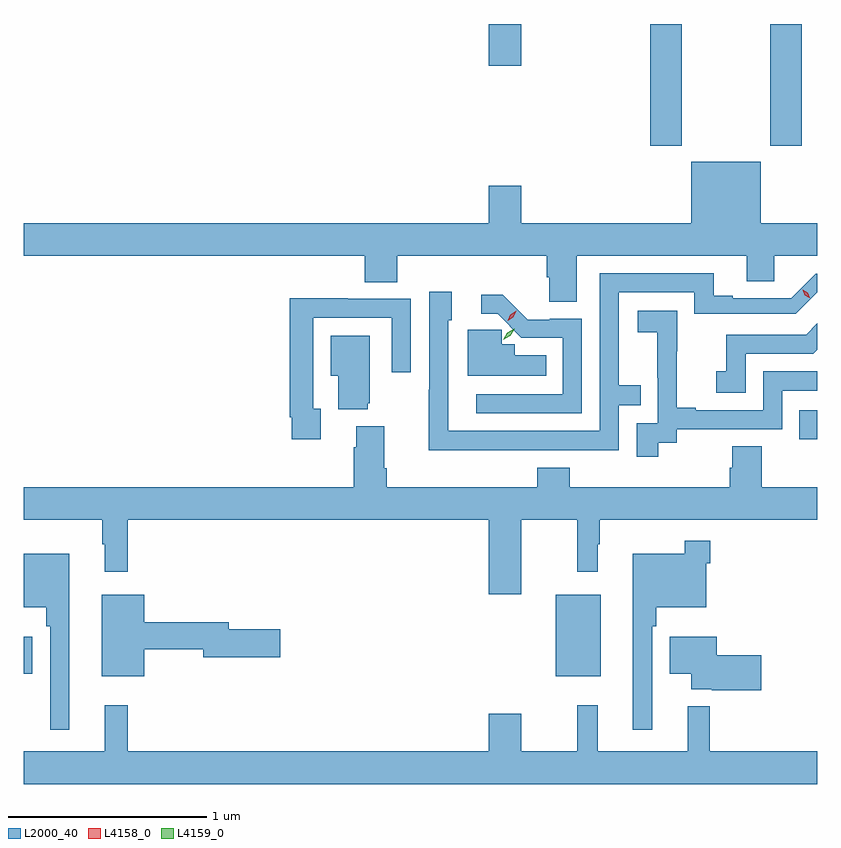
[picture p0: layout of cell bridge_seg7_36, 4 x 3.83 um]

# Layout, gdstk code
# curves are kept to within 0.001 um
import gdstk
lib = gdstk.Library(unit=1e-6, precision=1e-09)
def R(c, l, rs):  # rectangles x0, y0, x1, y1
    for r in rs: c.add(gdstk.rectangle(r[:2], r[2:], *l))
def P(c, l, *ps):  # polygons
    for p in ps: c.add(gdstk.Polygon(p, *l))
L2000_40 = (2000, 40)
L4158_0 = (4158, 0)
L4159_0 = (4159, 0)

bridge_seg7_36 = lib.new_cell('bridge_seg7_36')
R(bridge_seg7_36, L2000_40, [(920.588,1038.455,920.815,1038.865), (917.907,1038.467,917.95,1038.655), (921.817,1039.65,921.907,1039.797), (921.065,1041.129,921.225,1041.744), (921.67,1041.129,921.83,1041.744), (920.252,1041.534,920.416,1041.744)])
P(bridge_seg7_36, L2000_40, [(920.695,1040.576),(921.551,1040.576),(921.551,1040.446),(921.691,1040.446),(921.691,1040.576),(921.907,1040.576),(921.907,1040.74),(921.622,1040.74),(921.622,1041.049),(921.272,1041.049),(921.272,1040.74),(920.416,1040.74),(920.416,1040.929),(920.252,1040.929),(920.252,1040.74),(917.907,1040.74),(917.907,1040.576),(919.625,1040.576),(919.625,1040.443),(919.79,1040.443),(919.79,1040.576),(920.543,1040.576),(920.543,1040.466),(920.555,1040.466),(920.555,1040.344),(920.695,1040.344)],
  [(920.411,1039.596),(920.907,1039.596),(920.907,1039.821),(921.017,1039.821),(921.017,1039.922),(920.907,1039.922),(920.907,1040.391),(921.288,1040.391),(921.288,1040.284),(921.799,1040.284),(921.907,1040.392),(921.907,1040.484),(921.9,1040.484),(921.777,1040.361),(921.481,1040.361),(921.481,1040.374),(921.385,1040.374),(921.385,1040.487),(920.811,1040.487),(920.811,1039.692),(920.047,1039.692),(920.046,1040.25),(920.065,1040.25),(920.065,1040.395),(919.95,1040.395),(919.95,1039.901),(919.948,1039.901),(919.948,1039.595)],
  [(920.721,1040.259),(920.559,1040.259),(920.559,1040.253),(920.447,1040.253),(920.321,1040.38),(920.213,1040.38),(920.213,1040.283),(920.296,1040.283),(920.416,1040.163),(920.625,1040.163),(920.625,1039.878),(920.187,1039.878),(920.187,1039.782),(920.721,1039.782)],
  [(919.405,1039.805),(919.365,1039.805),(919.365,1040.262),(919.761,1040.262),(919.761,1039.989),(919.857,1039.989),(919.857,1040.358),(919.541,1040.358),(919.541,1040.36),(919.249,1040.36),(919.249,1039.762),(919.257,1039.762),(919.257,1039.65),(919.405,1039.65)],
  [(921.106,1039.632),(921.198,1039.632),(921.198,1039.701),(921.732,1039.701),(921.732,1039.896),(921.907,1039.896),(921.907,1039.992),(921.636,1039.992),(921.636,1039.797),(921.295,1039.797),(921.295,1039.81),(921.2,1039.81),(921.2,1040.093),(921.201,1040.093),(921.201,1040.299),(921.003,1040.299),(921.003,1040.189),(921.101,1040.189),(921.101,1039.961),(921.102,1039.961),(921.102,1039.731),(920.997,1039.731),(920.997,1039.563),(921.106,1039.563)],
  [(921.546,1040.082),(921.888,1040.082),(921.907,1040.101),(921.907,1040.234),(921.851,1040.178),(921.448,1040.178),(921.448,1039.993),(921.399,1039.993),(921.399,1039.884),(921.546,1039.884)],
  [(920.54,1040.074),(920.383,1040.074),(920.383,1040.129),(920.316,1040.129),(920.316,1040.203),(920.144,1040.203),(920.144,1039.97),(920.54,1039.97)],
  [(919.64,1039.833),(919.651,1039.833),(919.651,1040.173),(919.454,1040.173),(919.454,1039.97),(919.493,1039.97),(919.493,1039.802),(919.64,1039.802)],
  [(920.416,1039.244),(920.698,1039.244),(920.698,1038.981),(920.8,1038.981),(920.8,1039.121),(920.812,1039.121),(920.812,1039.244),(921.907,1039.244),(921.907,1039.408),(921.627,1039.408),(921.627,1039.616),(921.479,1039.616),(921.479,1039.506),(921.467,1039.506),(921.467,1039.408),(920.66,1039.408),(920.66,1039.507),(920.495,1039.507),(920.495,1039.408),(919.736,1039.408),(919.736,1039.504),(919.723,1039.504),(919.723,1039.717),(919.583,1039.717),(919.583,1039.61),(919.571,1039.61),(919.571,1039.408),(917.907,1039.408),(917.907,1039.244),(918.303,1039.244),(918.303,1039.121),(918.314,1039.121),(918.314,1038.981),(918.431,1038.981),(918.431,1039.244),(920.252,1039.244),(920.252,1038.87),(920.416,1038.87)],
  [(921.075,1038.707),(921.095,1038.707),(921.095,1038.803),(921.348,1038.803),(921.348,1039.025),(921.368,1039.025),(921.368,1039.138),(921.24,1039.138),(921.24,1039.072),(920.978,1039.072),(920.978,1038.186),(921.075,1038.186)],
  [(918.136,1039.072),(917.907,1039.072),(917.907,1038.803),(918.019,1038.803),(918.019,1038.707),(918.039,1038.707),(918.039,1038.186),(918.136,1038.186)],
  [(918.514,1038.592),(918.812,1038.592),(918.812,1038.55),(919.201,1038.55),(919.201,1038.692),(918.94,1038.692),(918.94,1038.728),(918.514,1038.728),(918.514,1038.865),(918.299,1038.865),(918.299,1038.455),(918.514,1038.455)],
  [(921.625,1038.56),(921.4,1038.56),(921.4,1038.655),(921.164,1038.655),(921.164,1038.467),(921.272,1038.467),(921.272,1038.389),(921.376,1038.389),(921.376,1038.384),(921.625,1038.384)],
  [(921.907,1038.076),(921.366,1038.076),(921.366,1038.304),(921.254,1038.304),(921.254,1038.076),(920.801,1038.076),(920.801,1038.31),(920.698,1038.31),(920.698,1038.076),(920.416,1038.076),(920.416,1038.265),(920.252,1038.265),(920.252,1038.076),(918.431,1038.076),(918.431,1038.31),(918.314,1038.31),(918.314,1038.076),(917.907,1038.076),(917.907,1037.912),(921.907,1037.912)])
P(bridge_seg7_36, L4158_0, [(921.868,1040.364),(921.844,1040.377),(921.834,1040.403),(921.834,1040.404),(921.835,1040.404),(921.859,1040.39),(921.869,1040.364),(921.869,1040.364)],
  [(920.346,1040.247),(920.346,1040.247),(920.36,1040.278),(920.389,1040.297),(920.389,1040.297),(920.389,1040.296),(920.375,1040.265),(920.346,1040.247)])
P(bridge_seg7_36, L4159_0, [(920.324,1040.151),(920.324,1040.152),(920.345,1040.186),(920.38,1040.207),(920.381,1040.207),(920.381,1040.207),(920.359,1040.172),(920.324,1040.151)])

lib.write_gds('bridge_seg7_36.gds')
